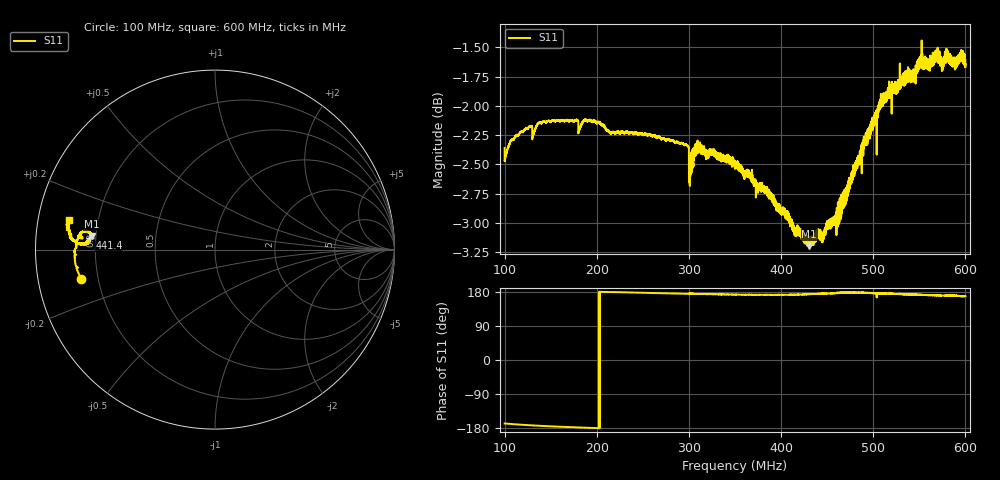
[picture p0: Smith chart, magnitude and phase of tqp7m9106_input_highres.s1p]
# Hz S RI R 50
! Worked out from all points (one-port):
!   10100 points, 100 MHz to 600 MHz, reference 50 ohm
!   lowest |S11| = -3.2 dB at 430.4 MHz (marker M1), VSWR 5.49, Z = 9.13 + j2.62 ohm
!   |S11| at or under -10 dB: nowhere
!   S11 on the Smith chart (normalised r, x): 100 MHz: 0.14, -0.11; 441.4 MHz: 0.18, +0.04; 600 MHz: 0.10, +0.10
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1e8  -0.7439 -0.1658
1.259927e8  -0.7701 -0.1083
1.625309e8  -0.7817 -0.0502
2.078325e8  -0.7788 0.00594
2.250124e8  -0.7727 0.0149
2.875433e8  -0.764 0.0635
2.974948e8  -0.7609 0.0709
3.024953e8  -0.7428 0.0649
3.103179e8  -0.7578 0.0766
3.500248e8  -0.7441 0.0948
3.799782e8  -0.7246 0.1067
4.125062e8  -0.7017 0.0961
4.303792e8  -0.6878 0.0746
4.413704e8  -0.6983 0.0631
4.545401e8  -0.7064 0.0518
4.608773e8  -0.7076 0.031
4.750371e8  -0.7371 0.0321
4.907318e8  -0.7641 0.0332
5.089514e8  -0.7965 0.0572
5.375186e8  -0.8163 0.0988
5.439548e8  -0.8104 0.1038
5.516289e8  -0.8218 0.1145
5.603921e8  -0.8127 0.1291
5.681652e8  -0.8225 0.1336
5.741063e8  -0.817 0.1471
5.886622e8  -0.8128 0.1452
5.952471e8  -0.8173 0.1702
6e8  -0.8106 0.1659
